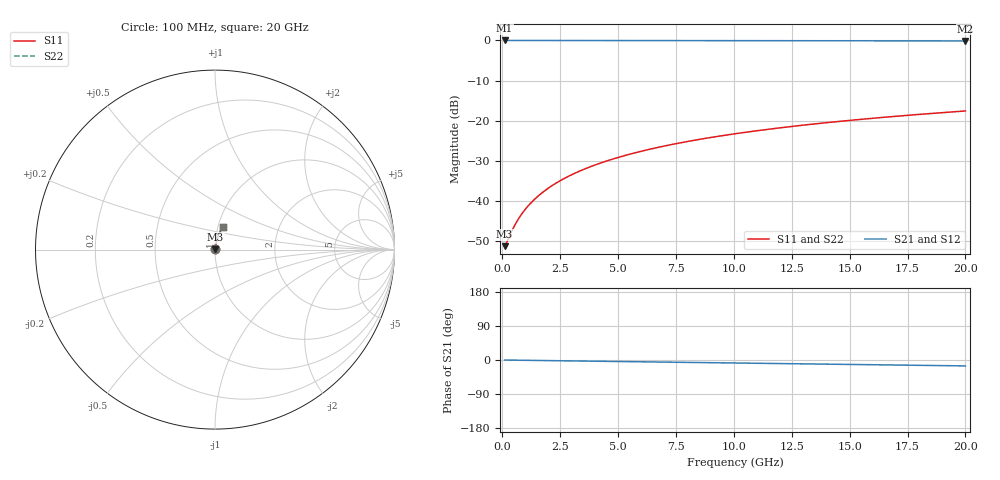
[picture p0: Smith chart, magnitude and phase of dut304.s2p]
! Touchstone file exported from HFSS 2026.1.0
!  File:  C:/ffzhzh/LocalFiles/Ansys_Project_Files/temp_train_TMRDL_304_1783003120_51716.aedt
!  Generated:  10:40:04 PM Jul  2, 2026
!  Design:  TMRDL
!  Project:  temp_train_TMRDL_304_1783003120_51716
! Variables:
!  h_bsmrdl = 2um
!  h_ox = 20um
!  h_rdl = 5um
!  h_sub = 80um
!  h_tmrdl = 2.53um
!  h_tsv = 80um
!  h_via = 3um
!  l_bsmrdl = 300um
!  l_sub = 629.26um
!  l_tmrdl = 229.26um
!  m_sub = 200um
!  pitch = 24.13um
!  r_tsv = 6um
!  s_tmrdl = 10um
!  w_bsmrdl = 18um
!  w_sub = 500um
!  w_tmrdl = 13.31um
!  x_tsv_center1 = 235.915um
!  x_tsv_center2 = 553.915um
!  x_tsv_center3 = 796.485um
!  x_tsv_center4 = 1114.485um
!  x_tsv_center5 = 1357.055um
!  x_tsv_center6 = 1675.055um
# GHz S MA R 50.000000
! Terminal data exported
! Port[1] = TM_RDL1_1_T1
! Port[2] = TM_RDL1_1_T2
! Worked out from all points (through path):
!   200 points, 100 MHz to 20 GHz, reference 50 ohm
!   highest |S21| = -0.02 dB at 100 MHz (marker M1); lowest = -0.1 dB at 20 GHz (marker M2)
!   group delay of S21, straight-line fit = 2.16 ps
!   lowest |S11| = -51.2 dB at 100 MHz (marker M3), VSWR 1.01, Z = 50.3 + j0.0803 ohm
!   |S11| at or under -10 dB: start of sweep to end of sweep
!   |S22| runs from -51.2 to -17.6 dB; largest |S21 - S12| = 6.2e-15
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0.1  0.002764 16.8  0.9974 -0.1  0.9974 -0.1  0.002764 16.8
! Gamma 0 0 0 0
! Port Impedance 50 0 50 0
0.2  0.003123 30.4  0.9973 -0.2  0.9973 -0.2  0.003123 30.4
0.4  0.004185 47.5  0.9972 -0.3  0.9972 -0.3  0.004185 47.5
0.5  0.004788 52.7  0.9971 -0.4  0.9971 -0.4  0.004788 52.8
0.7  0.006047 59.9  0.997 -0.6  0.997 -0.6  0.006047 59.9
0.8  0.006691 62.4  0.9969 -0.7  0.9969 -0.7  0.00669 62.4
1  0.007992 66.2  0.9968 -0.8  0.9968 -0.8  0.007992 66.2
1.3  0.009966 70.0  0.9967 -1.1  0.9967 -1.1  0.009966 70.1
1.7  0.01262 73.3  0.9966 -1.4  0.9966 -1.4  0.01262 73.3
2.2  0.01598 75.8  0.9964 -1.8  0.9964 -1.8  0.01598 75.8
2.8  0.02004 77.6  0.9963 -2.2  0.9963 -2.2  0.02004 77.6
3.5  0.0248 78.7  0.996 -2.8  0.996 -2.8  0.0248 78.7
4.2  0.02957 79.3  0.9958 -3.4  0.9958 -3.4  0.02957 79.3
5  0.03502 79.6  0.9955 -4.0  0.9955 -4.0  0.03502 79.6
5.9  0.04115 79.6  0.995 -4.7  0.995 -4.7  0.04115 79.6
6.8  0.04725 79.4  0.9946 -5.4  0.9946 -5.4  0.04725 79.4
8.3  0.05735 78.7  0.9937 -6.6  0.9937 -6.6  0.05735 78.7
10.1  0.06935 77.7  0.9925 -8.0  0.9925 -8.0  0.06935 77.8
11.7  0.07988 76.8  0.9912 -9.2  0.9912 -9.2  0.07988 76.8
13.4  0.09093 75.6  0.9898 -10.5  0.9898 -10.5  0.09093 75.6
16.7  0.112 73.4  0.9868 -13.1  0.9868 -13.1  0.112 73.4
20  0.1325 71.1  0.9835 -15.6  0.9835 -15.6  0.1325 71.1
